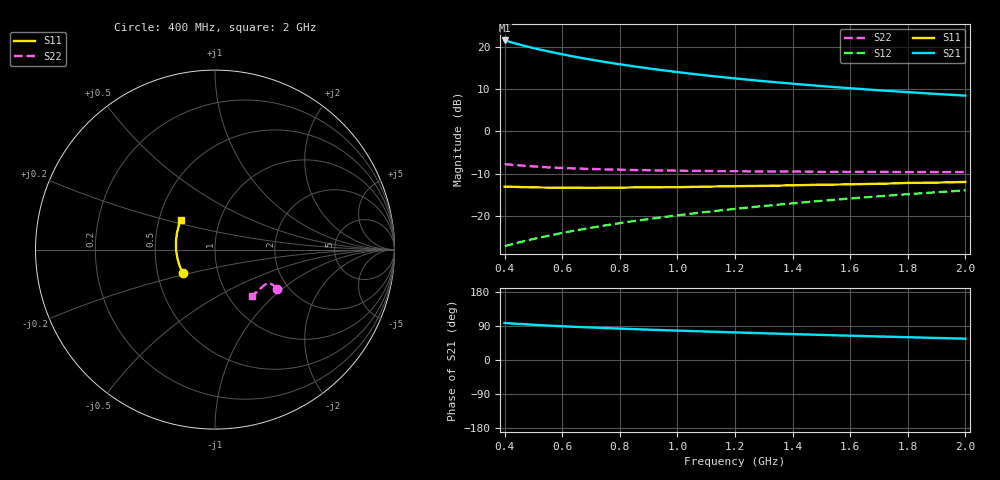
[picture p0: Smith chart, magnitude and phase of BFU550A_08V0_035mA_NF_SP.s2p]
! Filename:  P:\Prog\Test\Noise\ATS_data\Testdata_Net\06 Compressed Noise after Statistics\BFU550A_APG2013_35_C05_08p0V_035mA_NF_CM01_D.sf
! Date/Time: Tue 16/Apr/2013 15:11:28
! BFU550A_APG2013_35_C05_08p0V_1to35mA_NF_CM01_Bias8_R.sf
! Noise Parameter Data File
! BFU550A_APG2013_35_C05_08p0V_1to35mA_NF_CM01
! Date/time: Mon Apr 15 17:49:26 2013
! VAR V_out= 8.000000
! VAR I_out= 35.000000
! VAR V_in= 0.788900
! VAR I_in= 0.364900
! Device data file deembeded for feedlines and parallel
! Original file: \06 Compressed Noise after Statistics\BFU550A_APG2013_35_C05_08p0V_035mA_NF_CM01_R.sf
! Feed-files: PR017V01_150413_Feed1.s2p, PR017V01_150413_Feed2.s2p
! Parallel-file: PR017V01_150413_Par.s2p
# MHz S MA R 50
!  Freq-MHz  S11-mag  S11-arg  S21-mag  S21-arg  S12-mag  S12-arg  S22-mag  S22-arg
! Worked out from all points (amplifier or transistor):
!   37 points, 400 MHz to 2 GHz, reference 50 ohm
!   highest |S21| = 21.5 dB at 400 MHz (marker M1)
!   |S21| within 3 dB of that: start of sweep to 580.8 MHz
!   unconditionally stable (mu >= 1): 777.3 MHz to 1.638 GHz
!   at 500 MHz: K = 0.96, MSG = 22.6 dB, |S12| = -25.5 dB
!   at 1.1 GHz: K = 1.01, MAG = 15.6 dB, |S12| = -19.1 dB
!   at 2 GHz: K = 0.99, MSG = 11.2 dB, |S12| = -14.0 dB
!   lowest NFmin = 1.40 dB at 420 MHz
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400  0.2217 -143.9  11.89 97.7  0.04373 74.4  0.4096 -32.3
420  0.2208 -146.3  11.36 96.7  0.04564 74.6  0.4033 -32.2
440  0.22 -148.7  10.89 95.7  0.04751 74.7  0.3979 -32.0
460  0.2183 -150.7  10.44 94.8  0.0494 74.9  0.3931 -31.9
480  0.2182 -152.7  10.04 93.9  0.05129 75.0  0.3883 -31.8
500  0.2172 -154.8  9.661 93.0  0.05318 75.1  0.3845 -31.7
550  0.2158 -159.5  8.848 90.9  0.05783 75.4  0.3743 -31.4
600  0.2148 -163.3  8.154 89.1  0.0627 75.5  0.3682 -31.4
650  0.2148 -167.0  7.559 87.4  0.06748 75.6  0.3629 -31.6
700  0.2144 -170.3  7.046 85.8  0.07223 75.6  0.3584 -31.7
750  0.2149 -173.4  6.597 84.3  0.07707 75.6  0.3545 -31.9
800  0.2155 -176.2  6.207 82.9  0.08186 75.6  0.3516 -32.4
850  0.2168 -179.1  5.859 81.5  0.08666 75.5  0.3479 -32.8
950  0.218 175.9  5.272 78.8  0.09637 75.3  0.3439 -33.8
1050  0.2198 171.3  4.792 76.3  0.1061 74.9  0.3408 -34.9
1150  0.223 167.1  4.397 73.9  0.1159 74.4  0.3378 -36.2
1200  0.224 165.0  4.225 72.8  0.1208 74.2  0.337 -37.0
1350  0.2276 159.5  3.784 69.4  0.1355 73.3  0.3348 -39.4
1500  0.2338 154.2  3.431 66.2  0.1503 72.4  0.332 -41.9
1600  0.2359 151.0  3.233 64.2  0.1603 71.7  0.3316 -43.7
1750  0.2418 146.6  2.981 61.1  0.1751 70.7  0.3301 -46.4
2000  0.2517 139.8  2.642 56.2  0.2 68.7  0.329 -51.5
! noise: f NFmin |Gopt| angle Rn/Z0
400  1.428  0.3305  -167.9  0.0977
460  1.41  0.3452  -163.2  0.0943
600  1.524  0.3301  -158.1  0.105
800  1.487  0.3568  -154.7  0.1034
1000  1.526  0.3847  -150.3  0.1008
1200  1.56  0.3895  -142.7  0.1192
1400  1.593  0.4062  -137.8  0.1307
1600  1.621  0.4146  -131.5  0.1502
1800  1.643  0.4337  -125.8  0.1644
2000  1.699  0.4582  -121.4  0.1777
